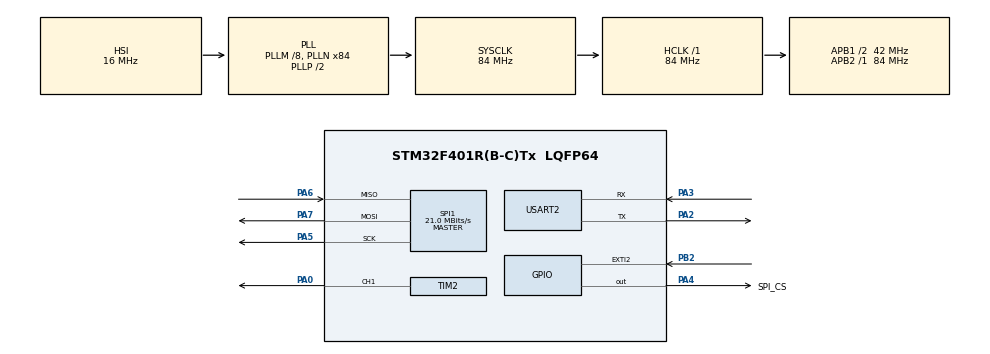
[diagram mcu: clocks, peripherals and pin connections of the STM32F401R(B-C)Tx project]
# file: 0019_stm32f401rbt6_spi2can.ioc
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Mcu.Family=STM32F4
Mcu.Name=STM32F401R(B-C)Tx
Mcu.Package=LQFP64
NVIC.EXTI2_IRQn=true\:0\:0\:false\:false\:true\:true\:true\:true
NVIC.PriorityGroup=NVIC_PRIORITYGROUP_4
PA0-WKUP.Signal=S_TIM2_CH1_ETR
PA2.Mode=Asynchronous
PA2.Signal=USART2_TX
PA3.Mode=Asynchronous
PA3.Signal=USART2_RX
PA4.GPIO_Label=SPI_CS
PA4.PinState=GPIO_PIN_SET
PA4.Signal=GPIO_Output
PA5.Mode=Full_Duplex_Master
PA5.Signal=SPI1_SCK
PA6.Mode=Full_Duplex_Master
PA6.Signal=SPI1_MISO
PA7.Mode=Full_Duplex_Master
PA7.Signal=SPI1_MOSI
PB2.Signal=GPXTI2
PH0\ -\ OSC_IN.Mode=HSE-External-Oscillator
PH0\ -\ OSC_IN.Signal=RCC_OSC_IN
PH1\ -\ OSC_OUT.Mode=HSE-External-Oscillator
PH1\ -\ OSC_OUT.Signal=RCC_OSC_OUT
ProjectManager.HeapSize=0x2000
ProjectManager.StackSize=0x4000
ProjectManager.TargetToolchain=STM32CubeIDE
RCC.48MHZClocksFreq_Value=42000000
RCC.AHBFreq_Value=84000000
RCC.APB1CLKDivider=RCC_HCLK_DIV2
RCC.APB1Freq_Value=42000000
RCC.APB1TimFreq_Value=84000000
RCC.APB2Freq_Value=84000000
RCC.APB2TimFreq_Value=84000000
RCC.CortexFreq_Value=84000000
RCC.HCLKFreq_Value=84000000
RCC.HSE_VALUE=25000000
RCC.HSI_VALUE=16000000
RCC.PLLM=8
RCC.PLLN=84
RCC.SYSCLKFreq_VALUE=84000000
RCC.SYSCLKSource=RCC_SYSCLKSOURCE_PLLCLK
RCC.VCOOutputFreq_Value=168000000
SH.S_TIM2_CH1_ETR.0=TIM2_CH1,PWM Generation1 CH1
SPI1.BaudRatePrescaler=SPI_BAUDRATEPRESCALER_4
SPI1.CalculateBaudRate=21.0 MBits/s
SPI1.Direction=SPI_DIRECTION_2LINES
SPI1.Mode=SPI_MODE_MASTER
SPI1.VirtualType=VM_MASTER
TIM2.Channel-PWM\ Generation1\ CH1=TIM_CHANNEL_1
TIM2.Period=20
TIM2.Prescaler=839
USART2.VirtualMode=VM_ASYNC
board=custom

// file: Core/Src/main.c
/* USER CODE BEGIN Header */
/**
  ******************************************************************************
  * @file           : main.c
  * @brief          : Main program body
  ******************************************************************************
  * @attention
  *
  * Copyright (c) 2023 STMicroelectronics.
  * All rights reserved.
  *
  * This software is licensed under terms that can be found in the LICENSE file
  * in the root directory of this software component.
  * If no LICENSE file comes with this software, it is provided AS-IS.
  *
  ******************************************************************************
  */
/* USER CODE END Header */
#include "main.h"

/* USER CODE BEGIN Includes */

#include "EEMProtocol.h"
#include "EEMProtocol_Config.h"

/* USER CODE END Includes */

SPI_HandleTypeDef hspi1;

TIM_HandleTypeDef htim2;

UART_HandleTypeDef huart2;

/* USER CODE BEGIN PV */

extern  BCM_Module_st	BCM_MSG;
extern  HVAC_Module_st	HVAC_MSG;
extern  SCB_Module_st	SCB_MSG;
extern  BMS_Module_st	BMS_MSG;
extern  MS1_Module_st	MS1_MSG;
extern  MS2_Module_st	MS2_MSG;
extern  ISO_Module_st	ISO_MSG;
extern  TLM_Module_st	TLM_MSG;
extern  YSB_Module_st	YSB_MSG;

EEM_Protocol_st	protocol;

/* USER CODE END PV */

void SystemClock_Config(void);
static void MX_GPIO_Init(void);
static void MX_SPI1_Init(void);
static void MX_USART2_UART_Init(void);
static void MX_TIM2_Init(void);

int main(void)
{

  /* MCU Configuration--------------------------------------------------------*/

  /* Reset of all peripherals, Initializes the Flash interface and the Systick. */
  HAL_Init();

  /* Configure the system clock */
  SystemClock_Config();

  /* Initialize all configured peripherals */
  MX_GPIO_Init();
  MX_SPI1_Init();
  MX_USART2_UART_Init();
  MX_TIM2_Init();
  /* USER CODE BEGIN 2 */

  /* Construction function of protocol */

  	EEM_CTOR(&protocol /* Main protocol Class Construct */
  	, ops /* Inherit Method Class */
  #if (defined(STM32F446xx) || defined(STM32F407xx) && defined(BXCAN_Protocol))
  	, &hcan1
  #elif (defined(STM32H750xx) && defined(FDCAN_Protocol))
  	, &fcan1
  #else
  /* Only works for spi2can */
  #endif
  	);

  	/* Init protocol settings in order to 250KBps Bit Rate */
  	protocol.ops.EEM_INIT(&protocol.obj);

  	/* Send Test Data */
  	const char testData[ EEM_MAX_SIZE ] = { 0xEE , 0x00 , 0xEE , 0x00 , 0xEE , 0x00 , 0xEE , 0x00 };
  	memcpy(&protocol.obj.canPacket.DATA[0] , &testData[0] , 8);
  	protocol.obj.canPacket.EXTENDED_ID.identifier = 0x1CFFFFFF;
  	protocol.ops.EEM_TX( &protocol.obj.canPacket , 0);

  	//TIM2->CCR1 = 1;
  	//HAL_TIM_PWM_Start(&htim2, TIM_CHANNEL_1);

  /* USER CODE END 2 */

  /* Infinite loop */
  while (1)
  {

    /* USER CODE BEGIN 3 */

	  EEM_PERIODIC(&protocol.obj.canPacket);

	  memcpy(&protocol.obj.canPacket.DATA[0] , &BCM_MSG.Message03.payload[0] , 8);
	  protocol.obj.canPacket.EXTENDED_ID.identifier = BCM_MSG.Message03_ID;
	  protocol.ops.EEM_TX( &protocol.obj.canPacket , 0);

  }
  /* USER CODE END 3 */
}

void SystemClock_Config(void)
{
  RCC_OscInitTypeDef RCC_OscInitStruct = {0};
  RCC_ClkInitTypeDef RCC_ClkInitStruct = {0};

  /** Configure the main internal regulator output voltage
  */
  __HAL_RCC_PWR_CLK_ENABLE();
  __HAL_PWR_VOLTAGESCALING_CONFIG(PWR_REGULATOR_VOLTAGE_SCALE2);

  /** Initializes the RCC Oscillators according to the specified parameters
  * in the RCC_OscInitTypeDef structure.
  */
  RCC_OscInitStruct.OscillatorType = RCC_OSCILLATORTYPE_HSI;
  RCC_OscInitStruct.HSIState = RCC_HSI_ON;
  RCC_OscInitStruct.HSICalibrationValue = RCC_HSICALIBRATION_DEFAULT;
  RCC_OscInitStruct.PLL.PLLState = RCC_PLL_ON;
  RCC_OscInitStruct.PLL.PLLSource = RCC_PLLSOURCE_HSI;
  RCC_OscInitStruct.PLL.PLLM = 8;
  RCC_OscInitStruct.PLL.PLLN = 84;
  RCC_OscInitStruct.PLL.PLLP = RCC_PLLP_DIV2;
  RCC_OscInitStruct.PLL.PLLQ = 4;
  if (HAL_RCC_OscConfig(&RCC_OscInitStruct) != HAL_OK)
  {
    Error_Handler();
  }

  /** Initializes the CPU, AHB and APB buses clocks
  */
  RCC_ClkInitStruct.ClockType = RCC_CLOCKTYPE_HCLK|RCC_CLOCKTYPE_SYSCLK
                              |RCC_CLOCKTYPE_PCLK1|RCC_CLOCKTYPE_PCLK2;
  RCC_ClkInitStruct.SYSCLKSource = RCC_SYSCLKSOURCE_PLLCLK;
  RCC_ClkInitStruct.AHBCLKDivider = RCC_SYSCLK_DIV1;
  RCC_ClkInitStruct.APB1CLKDivider = RCC_HCLK_DIV2;
  RCC_ClkInitStruct.APB2CLKDivider = RCC_HCLK_DIV1;

  if (HAL_RCC_ClockConfig(&RCC_ClkInitStruct, FLASH_LATENCY_2) != HAL_OK)
  {
    Error_Handler();
  }
}

static void MX_SPI1_Init(void)
{

  /* SPI1 parameter configuration*/
  hspi1.Instance = SPI1;
  hspi1.Init.Mode = SPI_MODE_MASTER;
  hspi1.Init.Direction = SPI_DIRECTION_2LINES;
  hspi1.Init.DataSize = SPI_DATASIZE_8BIT;
  hspi1.Init.CLKPolarity = SPI_POLARITY_LOW;
  hspi1.Init.CLKPhase = SPI_PHASE_1EDGE;
  hspi1.Init.NSS = SPI_NSS_SOFT;
  hspi1.Init.BaudRatePrescaler = SPI_BAUDRATEPRESCALER_64;
  hspi1.Init.FirstBit = SPI_FIRSTBIT_MSB;
  hspi1.Init.TIMode = SPI_TIMODE_DISABLE;
  hspi1.Init.CRCCalculation = SPI_CRCCALCULATION_DISABLE;
  hspi1.Init.CRCPolynomial = 10;
  if (HAL_SPI_Init(&hspi1) != HAL_OK)
  {
    Error_Handler();
  }

}

static void MX_TIM2_Init(void)
{

  TIM_MasterConfigTypeDef sMasterConfig = {0};
  TIM_OC_InitTypeDef sConfigOC = {0};

  htim2.Instance = TIM2;
  htim2.Init.Prescaler = 839;
  htim2.Init.CounterMode = TIM_COUNTERMODE_UP;
  htim2.Init.Period = 20;
  htim2.Init.ClockDivision = TIM_CLOCKDIVISION_DIV1;
  htim2.Init.AutoReloadPreload = TIM_AUTORELOAD_PRELOAD_DISABLE;
  if (HAL_TIM_PWM_Init(&htim2) != HAL_OK)
  {
    Error_Handler();
  }
  sMasterConfig.MasterOutputTrigger = TIM_TRGO_RESET;
  sMasterConfig.MasterSlaveMode = TIM_MASTERSLAVEMODE_DISABLE;
  if (HAL_TIMEx_MasterConfigSynchronization(&htim2, &sMasterConfig) != HAL_OK)
  {
    Error_Handler();
  }
  sConfigOC.OCMode = TIM_OCMODE_PWM1;
  sConfigOC.Pulse = 0;
  sConfigOC.OCPolarity = TIM_OCPOLARITY_HIGH;
  sConfigOC.OCFastMode = TIM_OCFAST_DISABLE;
  if (HAL_TIM_PWM_ConfigChannel(&htim2, &sConfigOC, TIM_CHANNEL_1) != HAL_OK)
  {
    Error_Handler();
  }
  HAL_TIM_MspPostInit(&htim2);

}

static void MX_USART2_UART_Init(void)
{

  huart2.Instance = USART2;
  huart2.Init.BaudRate = 115200;
  huart2.Init.WordLength = UART_WORDLENGTH_8B;
  huart2.Init.StopBits = UART_STOPBITS_1;
  huart2.Init.Parity = UART_PARITY_NONE;
  huart2.Init.Mode = UART_MODE_TX_RX;
  huart2.Init.HwFlowCtl = UART_HWCONTROL_NONE;
  huart2.Init.OverSampling = UART_OVERSAMPLING_16;
  if (HAL_UART_Init(&huart2) != HAL_OK)
  {
    Error_Handler();
  }

}

static void MX_GPIO_Init(void)
{
  GPIO_InitTypeDef GPIO_InitStruct = {0};

  /* GPIO Ports Clock Enable */
  __HAL_RCC_GPIOA_CLK_ENABLE();
  __HAL_RCC_GPIOB_CLK_ENABLE();

  /*Configure GPIO pin Output Level */
  HAL_GPIO_WritePin(SPI_CS_GPIO_Port, SPI_CS_Pin, GPIO_PIN_SET);

  /*Configure GPIO pin : SPI_CS_Pin */
  GPIO_InitStruct.Pin = SPI_CS_Pin;
  GPIO_InitStruct.Mode = GPIO_MODE_OUTPUT_PP;
  GPIO_InitStruct.Pull = GPIO_NOPULL;
  GPIO_InitStruct.Speed = GPIO_SPEED_FREQ_LOW;
  HAL_GPIO_Init(SPI_CS_GPIO_Port, &GPIO_InitStruct);

  /*Configure GPIO pin : PB2 */
  GPIO_InitStruct.Pin = GPIO_PIN_2;
  GPIO_InitStruct.Mode = GPIO_MODE_IT_RISING;
  GPIO_InitStruct.Pull = GPIO_NOPULL;
  HAL_GPIO_Init(GPIOB, &GPIO_InitStruct);

  /* EXTI interrupt init*/
  HAL_NVIC_SetPriority(EXTI2_IRQn, 0, 0);
  HAL_NVIC_EnableIRQ(EXTI2_IRQn);

}

void Error_Handler(void)
{
  __disable_irq();
  while (1)
  {
  }
}
